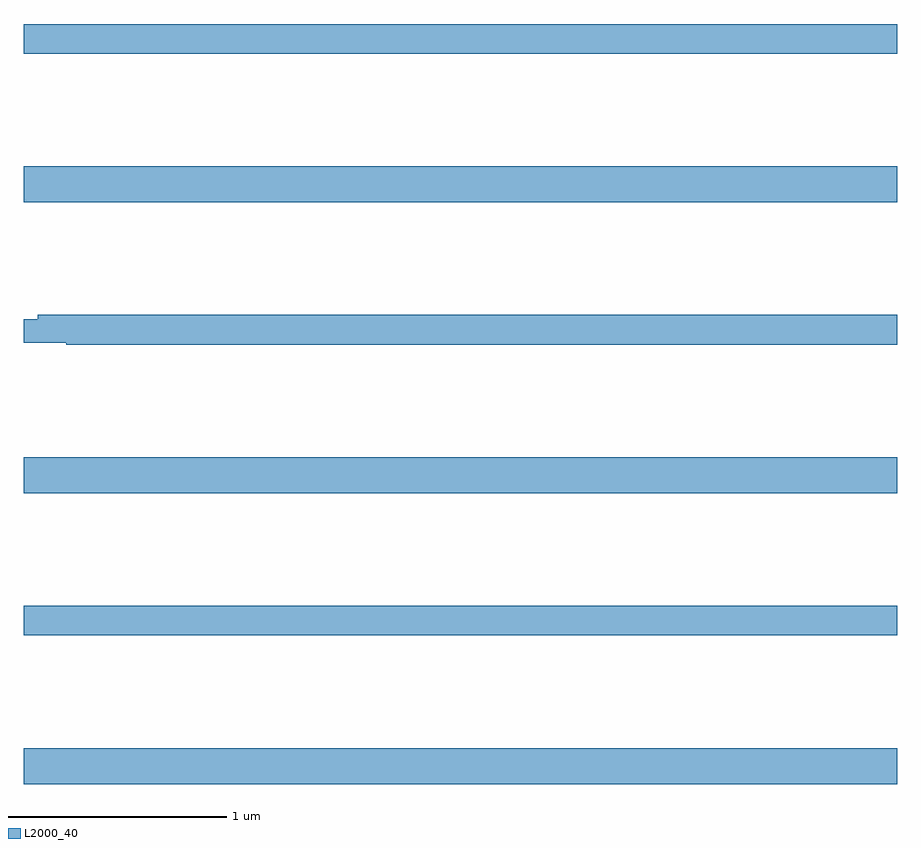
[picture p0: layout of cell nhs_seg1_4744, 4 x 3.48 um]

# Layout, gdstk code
import gdstk
lib = gdstk.Library(unit=1e-6, precision=1e-09)
def R(c, l, rs):  # rectangles x0, y0, x1, y1
    for r in rs: c.add(gdstk.rectangle(r[:2], r[2:], *l))
def A(c, l, x, y, w, h, nx, ny, dx, dy):  # array of equal rectangles
    R(c, l, [(x+i*dx, y+j*dy, x+i*dx+w, y+j*dy+h) for i in range(nx) for j in range(ny)])
def P(c, l, *ps):  # polygons
    for p in ps: c.add(gdstk.Polygon(p, *l))
L2000_40 = (2000, 40)

nhs_seg1_4744 = lib.new_cell('nhs_seg1_4744')
A(nhs_seg1_4744, L2000_40, 369, 506.444, 4, 0.164, 1, 3, 0, 1.332)
R(nhs_seg1_4744, L2000_40, [(369,507.124,373,507.26), (369,509.788,373,509.924)])
P(nhs_seg1_4744, L2000_40, [(373,508.592),(369.064,508.592),(369.064,508.573),(369,508.573),(369,508.464),(369.194,508.464),(369.194,508.456),(373,508.456)])

lib.write_gds('nhs_seg1_4744.gds')
